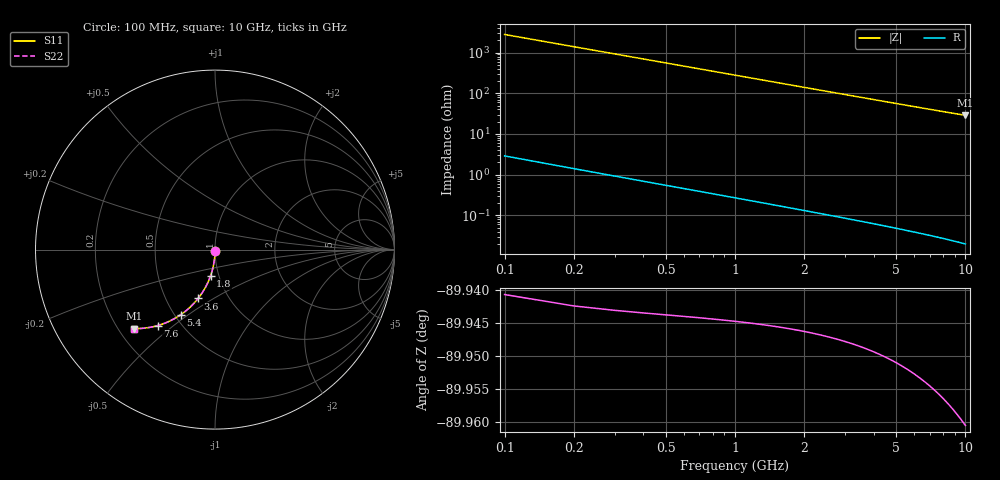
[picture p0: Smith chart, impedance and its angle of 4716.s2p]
# Hz S RI R 50.00
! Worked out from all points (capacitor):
!   100 points, 100 MHz to 10 GHz, reference 50 ohm
!   read as one part in shunt: C = 570 fF near 100 MHz
!   lowest |Z| = 28.7 ohm at 10 GHz (marker M1)
!   S11 on the Smith chart (normalised r, x): 100 MHz: 1.00, -0.02; 1.8 GHz: 0.91, -0.27; 3.6 GHz: 0.72, -0.43; 5.4 GHz: 0.54, -0.47; 7.6 GHz: 0.37, -0.44; 10 GHz: 0.26, -0.38
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1e8  0.000271 -0.00838  0.9996 -0.00951  0.9996 -0.00951  0.000271 -0.00838
2e8  2.57e-05 -0.0168  0.9993 -0.019  0.9993 -0.019  2.57e-05 -0.0168
3e8  -0.00038 -0.0251  0.9989 -0.0285  0.9989 -0.0285  -0.00038 -0.0251
4e8  -0.000944 -0.0335  0.9983 -0.038  0.9983 -0.038  -0.000944 -0.0335
5e8  -0.00167 -0.0418  0.9976 -0.0475  0.9976 -0.0475  -0.00167 -0.0418
6e8  -0.00255 -0.0501  0.9967 -0.0569  0.9967 -0.0569  -0.00255 -0.0501
8e8  -0.00478 -0.0667  0.9944 -0.0758  0.9944 -0.0758  -0.00478 -0.0667
1.1e9  -0.00929 -0.0913  0.9899 -0.1037  0.9899 -0.1037  -0.00929 -0.0913
1.4e9  -0.0152 -0.1155  0.984 -0.1313  0.984 -0.1313  -0.0152 -0.1155
1.8e9  -0.025 -0.1469  0.974 -0.1673  0.974 -0.1673  -0.025 -0.1469
2.1e9  -0.0339 -0.1698  0.9651 -0.1936  0.9651 -0.1936  -0.0339 -0.1698
2.5e9  -0.0475 -0.1992  0.9514 -0.2275  0.9514 -0.2275  -0.0475 -0.1992
2.9e9  -0.063 -0.2271  0.9357 -0.26  0.9357 -0.26  -0.063 -0.2271
3.4e9  -0.0847 -0.2598  0.9138 -0.2984  0.9138 -0.2984  -0.0847 -0.2598
3.6e9  -0.0941 -0.2721  0.9043 -0.313  0.9043 -0.313  -0.0941 -0.2721
4.3e9  -0.1294 -0.3118  0.8686 -0.3606  0.8686 -0.3606  -0.1294 -0.3118
5.1e9  -0.1734 -0.3501  0.8241 -0.4081  0.8241 -0.4081  -0.1734 -0.3501
5.4e9  -0.1906 -0.3625  0.8067 -0.424  0.8067 -0.424  -0.1906 -0.3625
6.7e9  -0.2672 -0.4047  0.7291 -0.4812  0.7291 -0.4812  -0.2672 -0.4047
7.6e9  -0.3203 -0.4234  0.6751 -0.5104  0.6751 -0.5104  -0.3203 -0.4234
8.4e9  -0.3663 -0.4338  0.6282 -0.5302  0.6282 -0.5302  -0.3663 -0.4338
1e10  -0.4526 -0.4398  0.5399 -0.5552  0.5399 -0.5552  -0.4526 -0.4398
